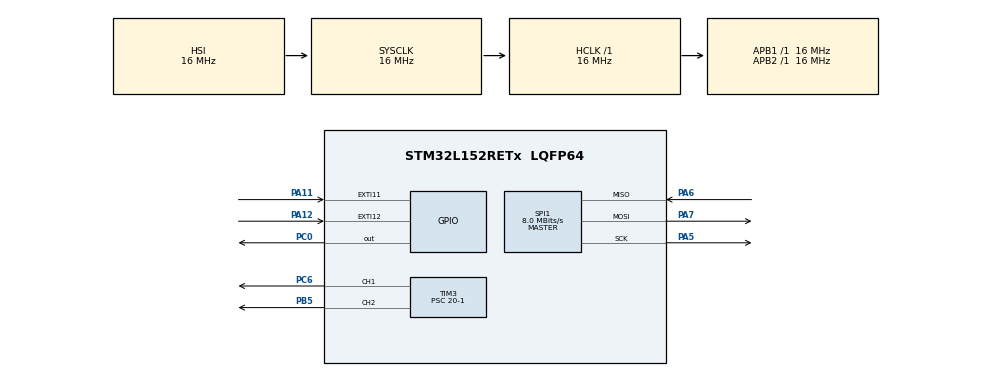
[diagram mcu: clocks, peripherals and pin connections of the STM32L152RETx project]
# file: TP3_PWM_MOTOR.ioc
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Mcu.Family=STM32L1
Mcu.Name=STM32L152RETx
Mcu.Package=LQFP64
NVIC.EXTI15_10_IRQn=true\:0\:0\:false\:false\:true\:true\:true\:true
NVIC.PriorityGroup=NVIC_PRIORITYGROUP_4
NVIC.TIM2_IRQn=true\:0\:0\:false\:false\:true\:true\:true\:true
NVIC.TIM3_IRQn=true\:0\:0\:false\:false\:true\:true\:true\:true
PA11.Signal=GPXTI11
PA12.Signal=GPXTI12
PA5.Mode=Full_Duplex_Master
PA5.Signal=SPI1_SCK
PA6.Mode=Full_Duplex_Master
PA6.Signal=SPI1_MISO
PA7.Mode=Full_Duplex_Master
PA7.Signal=SPI1_MOSI
PB5.Signal=S_TIM3_CH2
PC0.Signal=GPIO_Output
PC6.Signal=S_TIM3_CH1
ProjectManager.HeapSize=0x200
ProjectManager.StackSize=0x400
ProjectManager.TargetToolchain=STM32CubeIDE
RCC.AHBFreq_Value=16000000
RCC.APB1Freq_Value=16000000
RCC.APB1TimFreq_Value=16000000
RCC.APB2Freq_Value=16000000
RCC.APB2TimFreq_Value=16000000
RCC.HCLKFreq_Value=16000000
RCC.HSE_VALUE=24000000
RCC.HSI_VALUE=16000000
RCC.LSE_VALUE=32768
RCC.MSI_VALUE=2097000
RCC.SYSCLKFreq_VALUE=16000000
RCC.SYSCLKSource=RCC_SYSCLKSOURCE_HSI
RCC.VCOOutputFreq_Value=48000000
SH.S_TIM3_CH1.0=TIM3_CH1,PWM Generation1 CH1
SH.S_TIM3_CH2.0=TIM3_CH2,PWM Generation2 CH2
SPI1.CalculateBaudRate=8.0 MBits/s
SPI1.Direction=SPI_DIRECTION_2LINES
SPI1.Mode=SPI_MODE_MASTER
SPI1.VirtualType=VM_MASTER
TIM2.AutoReloadPreload=TIM_AUTORELOAD_PRELOAD_ENABLE
TIM2.Period=16000-1
TIM2.Prescaler=167-1
TIM3.AutoReloadPreload=TIM_AUTORELOAD_PRELOAD_ENABLE
TIM3.Channel-PWM\ Generation1\ CH1=TIM_CHANNEL_1
TIM3.Channel-PWM\ Generation2\ CH2=TIM_CHANNEL_2
TIM3.Period=16000-1
TIM3.Prescaler=20-1
TIM3.Pulse-PWM\ Generation1\ CH1=80-1
VP_TIM2_VS_ClockSourceINT.Mode=Internal
VP_TIM3_VS_ClockSourceINT.Mode=Internal
board=custom

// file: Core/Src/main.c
/* USER CODE BEGIN Header */
/**
  ******************************************************************************
  * @file           : main.c
  * @brief          : Main program body
  ******************************************************************************
  * @attention
  *
  * Copyright (c) 2025 STMicroelectronics.
  * All rights reserved.
  *
  * This software is licensed under terms that can be found in the LICENSE file
  * in the root directory of this software component.
  * If no LICENSE file comes with this software, it is provided AS-IS.
  *
  ******************************************************************************
  */
/* USER CODE END Header */
#include "main.h"

/* USER CODE BEGIN Includes */
#include "max7219.h"

/* USER CODE END Includes */

SPI_HandleTypeDef hspi1;

TIM_HandleTypeDef htim2;
TIM_HandleTypeDef htim3;

void SystemClock_Config(void);
static void MX_GPIO_Init(void);
static void MX_SPI1_Init(void);
static void MX_TIM2_Init(void);
static void MX_TIM3_Init(void);
/* USER CODE BEGIN PFP */
void affiche(uint8_t nombre_entier, uint8_t nombre_decimal);

/* USER CODE END PFP */

/* USER CODE BEGIN 0 */
volatile uint8_t angle = 0;
volatile uint8_t sens = 1;

void affiche(uint8_t nombre_entier, uint8_t nombre_decimal) {
    uint8_t compt_uni_ent;
    uint8_t compt_diz_ent;
    uint8_t compt_uni_deci;
    uint8_t compt_diz_deci;

    compt_uni_ent = nombre_entier % 10;
    compt_diz_ent = nombre_entier / 10;

    compt_uni_deci = nombre_decimal % 10;
    compt_diz_deci = nombre_decimal / 10;

    MAX7219_DisplayChar(1, compt_diz_ent);
    MAX7219_DisplayChar(2, compt_uni_ent);
    MAX7219_DisplayChar(3, compt_diz_deci);
    MAX7219_DisplayChar(4, compt_uni_deci);
}

/* USER CODE END 0 */

int main(void)
{

  /* MCU Configuration--------------------------------------------------------*/

  /* Reset of all peripherals, Initializes the Flash interface and the Systick. */
  HAL_Init();

  /* Configure the system clock */
  SystemClock_Config();

  /* Initialize all configured peripherals */
  MX_GPIO_Init();
  MX_SPI1_Init();
  MX_TIM2_Init();
  MX_TIM3_Init();
  /* USER CODE BEGIN 2 */
  MAX7219_Init();
  HAL_TIM_Base_Start_IT(&htim2);
  HAL_TIM_PWM_Start(&htim3, TIM_CHANNEL_2);

  /* USER CODE END 2 */

  /* Infinite loop */
  /* USER CODE BEGIN WHILE */
  MAX7219_Clear();
  while (1)
  {
    /* USER CODE END WHILE */

 }
}

void SystemClock_Config(void)
{
  RCC_OscInitTypeDef RCC_OscInitStruct = {0};
  RCC_ClkInitTypeDef RCC_ClkInitStruct = {0};

  /** Configure the main internal regulator output voltage
  */
  __HAL_PWR_VOLTAGESCALING_CONFIG(PWR_REGULATOR_VOLTAGE_SCALE1);

  /** Initializes the RCC Oscillators according to the specified parameters
  * in the RCC_OscInitTypeDef structure.
  */
  RCC_OscInitStruct.OscillatorType = RCC_OSCILLATORTYPE_HSI;
  RCC_OscInitStruct.HSIState = RCC_HSI_ON;
  RCC_OscInitStruct.HSICalibrationValue = RCC_HSICALIBRATION_DEFAULT;
  RCC_OscInitStruct.PLL.PLLState = RCC_PLL_NONE;
  if (HAL_RCC_OscConfig(&RCC_OscInitStruct) != HAL_OK)
  {
    Error_Handler();
  }

  /** Initializes the CPU, AHB and APB buses clocks
  */
  RCC_ClkInitStruct.ClockType = RCC_CLOCKTYPE_HCLK|RCC_CLOCKTYPE_SYSCLK
                              |RCC_CLOCKTYPE_PCLK1|RCC_CLOCKTYPE_PCLK2;
  RCC_ClkInitStruct.SYSCLKSource = RCC_SYSCLKSOURCE_HSI;
  RCC_ClkInitStruct.AHBCLKDivider = RCC_SYSCLK_DIV1;
  RCC_ClkInitStruct.APB1CLKDivider = RCC_HCLK_DIV1;
  RCC_ClkInitStruct.APB2CLKDivider = RCC_HCLK_DIV1;

  if (HAL_RCC_ClockConfig(&RCC_ClkInitStruct, FLASH_LATENCY_0) != HAL_OK)
  {
    Error_Handler();
  }
}

static void MX_SPI1_Init(void)
{

  /* SPI1 parameter configuration*/
  hspi1.Instance = SPI1;
  hspi1.Init.Mode = SPI_MODE_MASTER;
  hspi1.Init.Direction = SPI_DIRECTION_2LINES;
  hspi1.Init.DataSize = SPI_DATASIZE_8BIT;
  hspi1.Init.CLKPolarity = SPI_POLARITY_LOW;
  hspi1.Init.CLKPhase = SPI_PHASE_1EDGE;
  hspi1.Init.NSS = SPI_NSS_SOFT;
  hspi1.Init.BaudRatePrescaler = SPI_BAUDRATEPRESCALER_2;
  hspi1.Init.FirstBit = SPI_FIRSTBIT_MSB;
  hspi1.Init.TIMode = SPI_TIMODE_DISABLE;
  hspi1.Init.CRCCalculation = SPI_CRCCALCULATION_DISABLE;
  hspi1.Init.CRCPolynomial = 10;
  if (HAL_SPI_Init(&hspi1) != HAL_OK)
  {
    Error_Handler();
  }

}

static void MX_TIM2_Init(void)
{

  TIM_ClockConfigTypeDef sClockSourceConfig = {0};
  TIM_MasterConfigTypeDef sMasterConfig = {0};

  htim2.Instance = TIM2;
  htim2.Init.Prescaler = 167-1;
  htim2.Init.CounterMode = TIM_COUNTERMODE_UP;
  htim2.Init.Period = 16000-1;
  htim2.Init.ClockDivision = TIM_CLOCKDIVISION_DIV1;
  htim2.Init.AutoReloadPreload = TIM_AUTORELOAD_PRELOAD_ENABLE;
  if (HAL_TIM_Base_Init(&htim2) != HAL_OK)
  {
    Error_Handler();
  }
  sClockSourceConfig.ClockSource = TIM_CLOCKSOURCE_INTERNAL;
  if (HAL_TIM_ConfigClockSource(&htim2, &sClockSourceConfig) != HAL_OK)
  {
    Error_Handler();
  }
  sMasterConfig.MasterOutputTrigger = TIM_TRGO_RESET;
  sMasterConfig.MasterSlaveMode = TIM_MASTERSLAVEMODE_DISABLE;
  if (HAL_TIMEx_MasterConfigSynchronization(&htim2, &sMasterConfig) != HAL_OK)
  {
    Error_Handler();
  }

}

static void MX_TIM3_Init(void)
{

  TIM_ClockConfigTypeDef sClockSourceConfig = {0};
  TIM_MasterConfigTypeDef sMasterConfig = {0};
  TIM_OC_InitTypeDef sConfigOC = {0};

  htim3.Instance = TIM3;
  htim3.Init.Prescaler = 20-1;
  htim3.Init.CounterMode = TIM_COUNTERMODE_UP;
  htim3.Init.Period = 16000-1;
  htim3.Init.ClockDivision = TIM_CLOCKDIVISION_DIV1;
  htim3.Init.AutoReloadPreload = TIM_AUTORELOAD_PRELOAD_ENABLE;
  if (HAL_TIM_Base_Init(&htim3) != HAL_OK)
  {
    Error_Handler();
  }
  sClockSourceConfig.ClockSource = TIM_CLOCKSOURCE_INTERNAL;
  if (HAL_TIM_ConfigClockSource(&htim3, &sClockSourceConfig) != HAL_OK)
  {
    Error_Handler();
  }
  if (HAL_TIM_PWM_Init(&htim3) != HAL_OK)
  {
    Error_Handler();
  }
  sMasterConfig.MasterOutputTrigger = TIM_TRGO_RESET;
  sMasterConfig.MasterSlaveMode = TIM_MASTERSLAVEMODE_DISABLE;
  if (HAL_TIMEx_MasterConfigSynchronization(&htim3, &sMasterConfig) != HAL_OK)
  {
    Error_Handler();
  }
  sConfigOC.OCMode = TIM_OCMODE_PWM1;
  sConfigOC.Pulse = 80-1;
  sConfigOC.OCPolarity = TIM_OCPOLARITY_HIGH;
  sConfigOC.OCFastMode = TIM_OCFAST_DISABLE;
  if (HAL_TIM_PWM_ConfigChannel(&htim3, &sConfigOC, TIM_CHANNEL_1) != HAL_OK)
  {
    Error_Handler();
  }
  sConfigOC.Pulse = 0;
  if (HAL_TIM_PWM_ConfigChannel(&htim3, &sConfigOC, TIM_CHANNEL_2) != HAL_OK)
  {
    Error_Handler();
  }
  HAL_TIM_MspPostInit(&htim3);

}

static void MX_GPIO_Init(void)
{
  GPIO_InitTypeDef GPIO_InitStruct = {0};

  /* GPIO Ports Clock Enable */
  __HAL_RCC_GPIOC_CLK_ENABLE();
  __HAL_RCC_GPIOA_CLK_ENABLE();
  __HAL_RCC_GPIOB_CLK_ENABLE();

  /*Configure GPIO pin Output Level */
  HAL_GPIO_WritePin(GPIOC, GPIO_PIN_0, GPIO_PIN_RESET);

  /*Configure GPIO pin : PC0 */
  GPIO_InitStruct.Pin = GPIO_PIN_0;
  GPIO_InitStruct.Mode = GPIO_MODE_OUTPUT_PP;
  GPIO_InitStruct.Pull = GPIO_NOPULL;
  GPIO_InitStruct.Speed = GPIO_SPEED_FREQ_LOW;
  HAL_GPIO_Init(GPIOC, &GPIO_InitStruct);

  /*Configure GPIO pins : PA11 PA12 */
  GPIO_InitStruct.Pin = GPIO_PIN_11|GPIO_PIN_12;
  GPIO_InitStruct.Mode = GPIO_MODE_IT_RISING;
  GPIO_InitStruct.Pull = GPIO_NOPULL;
  HAL_GPIO_Init(GPIOA, &GPIO_InitStruct);

  /* EXTI interrupt init*/
  HAL_NVIC_SetPriority(EXTI15_10_IRQn, 0, 0);
  HAL_NVIC_EnableIRQ(EXTI15_10_IRQn);

}

/* USER CODE BEGIN 4 */
void HAL_TIM_PeriodElapsedCallback(TIM_HandleTypeDef *htim) {
    if (htim->Instance == TIM2) {
        if (sens) {
            angle++;
            if (angle >= 90) {
                sens = 0;
            }
        } else {
            angle--;
            if (angle <= 0) {
                sens = 1;
            }
        }
        affiche(angle, 0);

        TIM3->CCR2 = 800 + angle * 8.9;

        //__HAL_TIM_SET_COMPARE(&htim3, TIM_CHANNEL_2, 800 + angle * 8.9);
    }
}

/* USER CODE END 4 */

void Error_Handler(void)
{
  __disable_irq();
  while (1)
  {
  }
}
